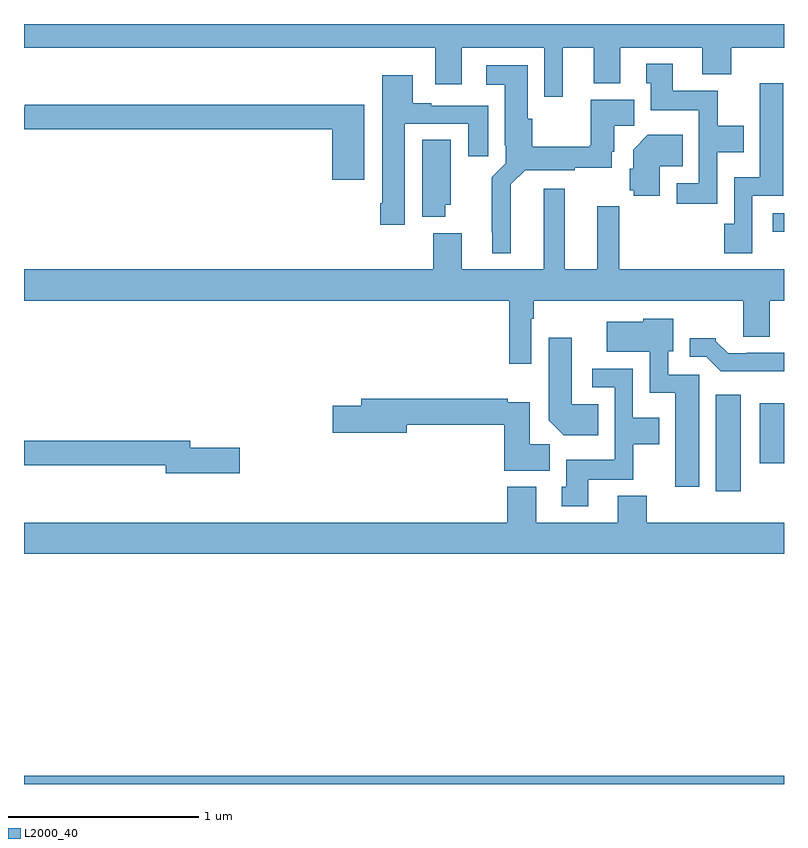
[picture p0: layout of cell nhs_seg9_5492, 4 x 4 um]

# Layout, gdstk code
import gdstk
lib = gdstk.Library(unit=1e-6, precision=1e-09)
def R(c, l, rs):  # rectangles x0, y0, x1, y1
    for r in rs: c.add(gdstk.rectangle(r[:2], r[2:], *l))
def P(c, l, *ps):  # polygons
    for p in ps: c.add(gdstk.Polygon(p, *l))
L2000_40 = (2000, 40)

nhs_seg9_5492 = lib.new_cell('nhs_seg9_5492')
R(nhs_seg9_5492, L2000_40, [(429,1236.5,433,1236.544), (432.641,1238.04,432.772,1238.548), (432.872,1238.189,433,1238.503), (432.942,1239.407,433,1239.504)])
P(nhs_seg9_5492, L2000_40, [(431.836,1240.376),(431.999,1240.376),(431.999,1240.187),(432.139,1240.187),(432.139,1240.376),(432.569,1240.376),(432.569,1240.235),(432.722,1240.235),(432.722,1240.376),(433,1240.376),(433,1240.5),(429,1240.5),(429,1240.376),(431.165,1240.376),(431.165,1240.182),(431.305,1240.182),(431.305,1240.376),(431.739,1240.376),(431.739,1240.116),(431.836,1240.116)],
  [(432.648,1239.824),(432.787,1239.824),(432.787,1239.964),(432.651,1239.964),(432.651,1240.15),(432.415,1240.15),(432.415,1240.291),(432.275,1240.291),(432.275,1240.188),(432.299,1240.188),(432.299,1240.046),(432.552,1240.046),(432.552,1239.663),(432.435,1239.663),(432.435,1239.555),(432.648,1239.555)],
  [(431.563,1239.656),(431.637,1239.731),(431.898,1239.731),(431.898,1239.743),(432.094,1239.743),(432.094,1239.828),(432.106,1239.828),(432.106,1239.964),(432.211,1239.964),(432.211,1240.102),(431.984,1240.102),(431.984,1239.861),(431.977,1239.861),(431.977,1239.853),(431.676,1239.853),(431.676,1240.002),(431.65,1240.002),(431.65,1240.282),(431.433,1240.282),(431.433,1240.181),(431.531,1240.181),(431.531,1239.862),(431.535,1239.862),(431.535,1239.768),(431.461,1239.694),(431.461,1239.403),(431.465,1239.403),(431.465,1239.293),(431.563,1239.293)],
  [(431.005,1239.975),(431.339,1239.975),(431.339,1239.804),(431.443,1239.804),(431.443,1240.071),(431.143,1240.071),(431.143,1240.084),(431.047,1240.084),(431.047,1240.231),(430.886,1240.231),(430.886,1239.556),(430.874,1239.556),(430.874,1239.444),(431.005,1239.444)],
  [(432.834,1239.597),(432.997,1239.597),(432.997,1240.189),(432.872,1240.189),(432.872,1239.694),(432.738,1239.694),(432.738,1239.45),(432.686,1239.45),(432.686,1239.294),(432.834,1239.294)],
  [(430.792,1240.075),(429.004,1240.075),(429.004,1240.062),(429,1240.062),(429,1239.946),(430.622,1239.946),(430.622,1239.681),(430.792,1239.681)],
  [(432.346,1239.752),(432.467,1239.752),(432.467,1239.916),(432.284,1239.916),(432.206,1239.838),(432.206,1239.738),(432.188,1239.738),(432.188,1239.624),(432.21,1239.624),(432.21,1239.595),(432.346,1239.595)],
  [(431.218,1239.549),(431.245,1239.549),(431.245,1239.89),(431.096,1239.89),(431.096,1239.485),(431.218,1239.485)],
  [(431.67,1238.948),(431.683,1238.948),(431.683,1239.044),(432.785,1239.044),(432.785,1238.854),(432.925,1238.854),(432.925,1239.044),(433,1239.044),(433,1239.208),(432.134,1239.208),(432.134,1239.541),(432.017,1239.541),(432.017,1239.208),(431.845,1239.208),(431.845,1239.634),(431.735,1239.634),(431.735,1239.208),(431.305,1239.208),(431.305,1239.4),(431.153,1239.4),(431.153,1239.208),(429,1239.208),(429,1239.044),(431.554,1239.044),(431.554,1238.712),(431.67,1238.712)],
  [(432.553,1238.655),(432.39,1238.655),(432.39,1238.778),(432.418,1238.778),(432.418,1238.95),(432.258,1238.95),(432.258,1238.932),(432.066,1238.932),(432.066,1238.774),(432.294,1238.774),(432.294,1238.558),(432.428,1238.558),(432.428,1238.064),(432.553,1238.064)],
  [(432.023,1238.5),(431.884,1238.5),(431.884,1238.848),(431.762,1238.848),(431.762,1238.414),(431.84,1238.336),(432.023,1238.336)],
  [(433,1238.769),(432.805,1238.769),(432.805,1238.766),(432.706,1238.766),(432.642,1238.83),(432.642,1238.845),(432.503,1238.845),(432.503,1238.748),(432.591,1238.748),(432.667,1238.672),(433,1238.672)],
  [(431.971,1238.102),(432.207,1238.102),(432.207,1238.288),(432.343,1238.288),(432.343,1238.428),(432.204,1238.428),(432.204,1238.685),(431.991,1238.685),(431.991,1238.589),(432.108,1238.589),(432.108,1238.206),(431.855,1238.206),(431.855,1238.064),(431.831,1238.064),(431.831,1237.962),(431.971,1237.962)],
  [(431.767,1238.288),(431.662,1238.288),(431.662,1238.51),(431.546,1238.51),(431.546,1238.528),(430.775,1238.528),(430.775,1238.492),(430.626,1238.492),(430.626,1238.35),(431.014,1238.35),(431.014,1238.392),(431.528,1238.392),(431.528,1238.15),(431.767,1238.15)],
  [(430.135,1238.27),(429.874,1238.27),(429.874,1238.306),(429,1238.306),(429,1238.178),(429.746,1238.178),(429.746,1238.135),(430.135,1238.135)],
  [(433,1237.876),(432.278,1237.876),(432.278,1238.017),(432.125,1238.017),(432.125,1237.876),(431.695,1237.876),(431.695,1238.065),(431.543,1238.065),(431.543,1237.876),(429,1237.876),(429,1237.712),(433,1237.712)])

lib.write_gds('nhs_seg9_5492.gds')
